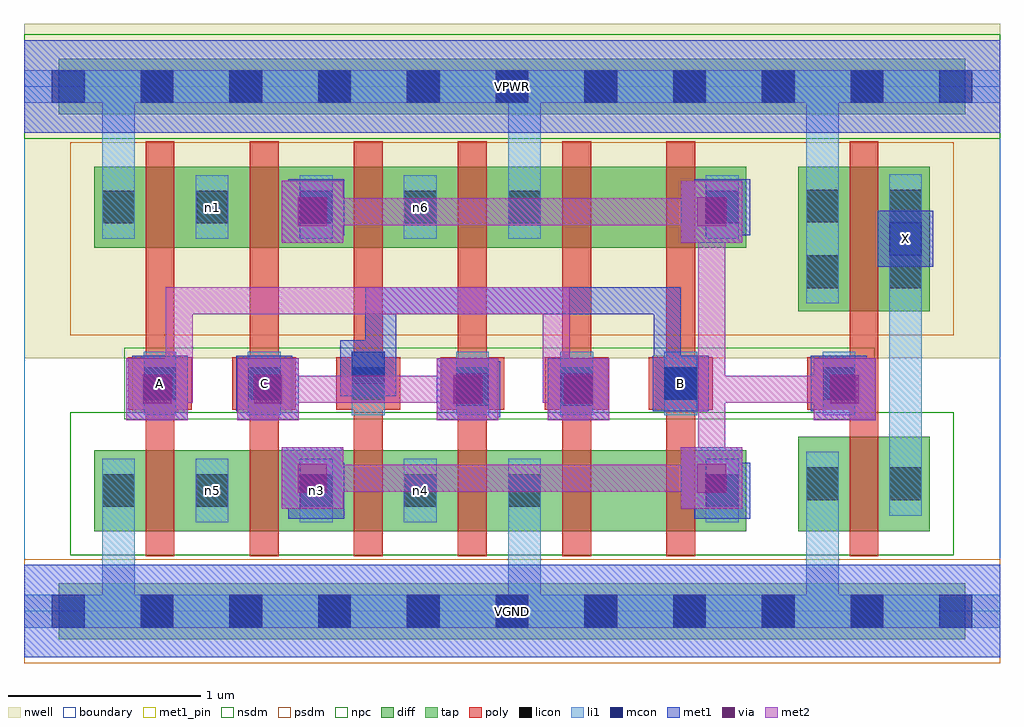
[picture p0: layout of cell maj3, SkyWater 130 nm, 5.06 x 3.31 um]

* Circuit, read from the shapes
.subckt maj3 A B C VGND VPWR X n1 n3 n4 n5 n6
XM1 n5 A VGND VGND sky130_fd_pr__nfet_01v8 w=0.42 l=0.15
XM2 n3 C n5 VGND sky130_fd_pr__nfet_01v8 w=0.42 l=0.15
XM3 n4 B n3 VGND sky130_fd_pr__nfet_01v8 w=0.42 l=0.15
XM4 VGND C n4 VGND sky130_fd_pr__nfet_01v8 w=0.42 l=0.15
XM5 n2 A VGND VGND sky130_fd_pr__nfet_01v8 w=0.42 l=0.15
XM6 n3 B n2 VGND sky130_fd_pr__nfet_01v8 w=0.42 l=0.15
XM7 X n3 VGND VGND sky130_fd_pr__nfet_01v8 w=0.49 l=0.15
XM8 n1 A VPWR VPWR sky130_fd_pr__pfet_01v8 w=0.42 l=0.15
XM9 n3 C n1 VPWR sky130_fd_pr__pfet_01v8 w=0.42 l=0.15
XM10 n6 B n3 VPWR sky130_fd_pr__pfet_01v8 w=0.42 l=0.15
XM11 VPWR C n6 VPWR sky130_fd_pr__pfet_01v8 w=0.42 l=0.15
XM12 n7 A VPWR VPWR sky130_fd_pr__pfet_01v8 w=0.42 l=0.15
XM13 n3 B n7 VPWR sky130_fd_pr__pfet_01v8 w=0.42 l=0.15
XM14 X n3 VPWR VPWR sky130_fd_pr__pfet_01v8 w=0.75 l=0.15
.ends

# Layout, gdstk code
import gdstk
lib = gdstk.Library(unit=1e-6, precision=1e-09)
def R(c, l, rs):  # rectangles x0, y0, x1, y1
    for r in rs: c.add(gdstk.rectangle(r[:2], r[2:], *l))
def A(c, l, x, y, w, h, nx, ny, dx, dy):  # array of equal rectangles
    R(c, l, [(x+i*dx, y+j*dy, x+i*dx+w, y+j*dy+h) for i in range(nx) for j in range(ny)])
nwell = (64, 20)
diff = (65, 20)
tap = (65, 44)
poly = (66, 20)
licon = (66, 44)
li1 = (67, 20)
mcon = (67, 44)
met1_pin = (68, 16)
met1 = (68, 20)
via = (68, 44)
met2 = (69, 20)
nsdm = (93, 44)
psdm = (94, 20)
npc = (95, 20)
boundary = (235, 4)

maj3 = lib.new_cell('maj3')
R(maj3, nwell, [(0,1.31,5.06,3.045)])
R(maj3, diff, [(0.365,0.415,3.745,0.835), (4.015,0.415,4.695,0.905), (4.015,1.555,4.695,2.305), (0.365,1.885,3.745,2.305)])
R(maj3, tap, [(0.18,-0.145,4.88,0.145), (0.18,2.575,4.88,2.865)])
A(maj3, poly, 0.63, 0.285, 0.15, 2.15, 6, 1, 0.54, 0)
A(maj3, poly, 0.54, 1.045, 0.33, 0.27, 6, 1, 0.54, 0)
R(maj3, poly, [(4.28,0.285,4.43,2.435), (4.06,1.045,4.39,1.315)])
A(maj3, licon, 0.605, -0.085, 0.17, 0.17, 9, 2, 0.46, 2.72)
A(maj3, licon, 0.89, 0.54, 0.17, 0.17, 4, 2, 0.54, 1.47)
A(maj3, licon, 0.62, 1.095, 0.17, 0.17, 6, 1, 0.54, 0)
R(maj3, licon, [(0.405,0.54,0.575,0.71), (3.535,0.54,3.705,0.71), (4.055,0.575,4.225,0.745), (4.485,0.575,4.655,0.745), (4.14,1.095,4.31,1.265), (4.055,1.675,4.225,1.845), (4.485,1.675,4.655,1.845), (0.405,2.01,0.575,2.18), (3.535,2.01,3.705,2.18), (4.055,2.015,4.225,2.185), (4.485,2.015,4.655,2.185)])
A(maj3, li1, 0.89, 0.46, 0.17, 0.33, 4, 2, 0.54, 1.47)
A(maj3, li1, 0.62, 1.015, 0.17, 0.33, 6, 1, 0.54, 0)
R(maj3, li1, [(0,-0.085,5.06,0.085), (0.405,-0.085,0.575,0.79), (2.51,-0.085,2.68,0.79), (4.055,-0.085,4.225,0.825), (0.405,0.46,0.575,0.79), (3.535,0.46,3.705,0.79), (4.055,0.495,4.225,0.825), (4.485,0.495,4.655,0.825), (4.485,0.495,4.655,2.265), (4.14,1.015,4.31,1.345), (4.055,1.595,4.225,2.265), (4.055,1.595,4.225,2.805), (4.485,1.595,4.655,2.265), (0.405,1.93,0.575,2.26), (0.405,1.93,0.575,2.805), (2.51,1.93,2.68,2.805), (3.535,1.93,3.705,2.26), (0,2.635,5.06,2.805)])
A(maj3, mcon, 0.145, -0.085, 0.17, 0.17, 11, 2, 0.46, 2.72)
R(maj3, mcon, [(1.43,0.54,1.6,0.71), (3.535,0.54,3.705,0.71), (2.24,1.065,2.41,1.235), (2.78,1.065,2.95,1.235), (0.62,1.095,0.79,1.265), (1.16,1.095,1.33,1.265), (3.32,1.095,3.49,1.265), (4.14,1.095,4.31,1.265), (1.7,1.175,1.87,1.345), (4.485,1.845,4.655,2.015), (1.43,2.01,1.6,2.18), (3.535,2.01,3.705,2.18)])
R(maj3, met1_pin, [(0,-0.24,5.06,0.24), (0.56,1.035,0.85,1.325), (1.1,1.035,1.39,1.325), (3.26,1.035,3.55,1.325), (4.425,1.785,4.715,2.075), (0,2.48,5.06,2.96)])
R(maj3, met1, [(0,-0.24,5.06,0.24), (1.37,0.48,1.66,0.77), (3.475,0.48,3.765,0.77), (1.335,0.53,1.655,0.85), (3.405,0.53,3.725,0.85), (1.425,0.62,1.565,0.76), (3.495,0.62,3.635,0.76), (0.53,0.99,0.85,1.31), (1.105,0.99,1.425,1.31), (2.14,0.99,2.46,1.31), (2.715,0.99,3.035,1.31), (4.095,0.99,4.415,1.31), (2.18,1.005,2.47,1.295), (2.72,1.005,3.01,1.295), (0.56,1.035,0.85,1.325), (1.1,1.035,1.39,1.325), (3.26,1.035,3.55,1.325), (4.08,1.035,4.37,1.325), (0.62,1.08,0.76,1.22), (1.195,1.08,1.335,1.22), (2.23,1.08,2.395,1.22), (2.795,1.08,2.945,1.22), (3.265,1.08,3.405,1.22), (3.265,1.08,3.405,1.68), (4.185,1.08,4.325,1.22), (1.64,1.115,1.93,1.405), (1.715,1.19,1.91,1.33), (1.77,1.19,1.91,1.45), (1.77,1.31,1.91,1.68), (1.77,1.405,1.93,1.54), (1.77,1.54,3.405,1.68), (4.425,1.785,4.715,2.075), (1.335,1.91,1.655,2.23), (3.405,1.91,3.725,2.23), (1.37,1.95,1.66,2.24), (3.475,1.95,3.765,2.24), (1.425,2,1.565,2.14), (3.495,2,3.635,2.14), (0,2.48,5.06,2.96)])
R(maj3, via, [(1.42,0.615,1.57,0.765), (3.49,0.615,3.64,0.765), (0.615,1.075,0.765,1.225), (1.19,1.075,1.34,1.225), (2.225,1.075,2.375,1.225), (2.8,1.075,2.95,1.225), (4.18,1.075,4.33,1.225), (1.42,1.995,1.57,2.145), (3.49,1.995,3.64,2.145)])
R(maj3, met2, [(1.335,0.53,1.655,0.85), (3.405,0.53,3.725,0.85), (1.425,0.62,3.635,0.76), (3.495,0.62,3.635,2.14), (0.53,0.99,0.85,1.31), (1.105,0.99,1.425,1.31), (2.14,0.99,2.46,1.31), (2.715,0.99,3.035,1.31), (4.095,0.99,4.415,1.31), (0.62,1.08,0.875,1.22), (0.735,1.08,0.875,1.68), (1.195,1.08,2.37,1.22), (2.69,1.08,2.945,1.22), (2.69,1.08,2.83,1.68), (3.495,1.08,4.325,1.22), (0.735,1.54,2.83,1.68), (1.335,1.91,1.655,2.23), (3.405,1.91,3.725,2.23), (1.425,2,3.635,2.14)])
R(maj3, nsdm, [(0.24,0.29,4.82,1.03), (0,2.45,5.06,2.99)])
R(maj3, psdm, [(0,-0.27,5.06,0.27), (0.24,1.43,4.82,2.43)])
R(maj3, npc, [(0.52,0.995,4.41,1.365)])
R(maj3, boundary, [(0,0,5.06,2.72)])
maj3.add(gdstk.Label('n5', (0.975,0.625), layer=67, texttype=5))
maj3.add(gdstk.Label('n3', (1.515,0.625), layer=67, texttype=5))
maj3.add(gdstk.Label('n4', (2.055,0.625), layer=67, texttype=5))
maj3.add(gdstk.Label('n1', (0.975,2.095), layer=67, texttype=5))
maj3.add(gdstk.Label('n6', (2.055,2.095), layer=67, texttype=5))
maj3.add(gdstk.Label('A', (0.705,1.18), layer=68, texttype=5))
maj3.add(gdstk.Label('B', (3.405,1.18), layer=68, texttype=5))
maj3.add(gdstk.Label('C', (1.245,1.18), layer=68, texttype=5))
maj3.add(gdstk.Label('X', (4.57,1.93), layer=68, texttype=5))
maj3.add(gdstk.Label('VPWR', (2.53,2.72), layer=68, texttype=5))
maj3.add(gdstk.Label('VGND', (2.53,0), layer=68, texttype=5))
maj3.add(gdstk.Label('A', (0.705,1.18), layer=68, texttype=16))
maj3.add(gdstk.Label('B', (3.405,1.18), layer=68, texttype=16))
maj3.add(gdstk.Label('C', (1.245,1.18), layer=68, texttype=16))
maj3.add(gdstk.Label('X', (4.57,1.93), layer=68, texttype=16))
maj3.add(gdstk.Label('VPWR', (2.53,2.72), layer=68, texttype=16))
maj3.add(gdstk.Label('VGND', (2.53,0), layer=68, texttype=16))

lib.write_gds('maj3.gds')
